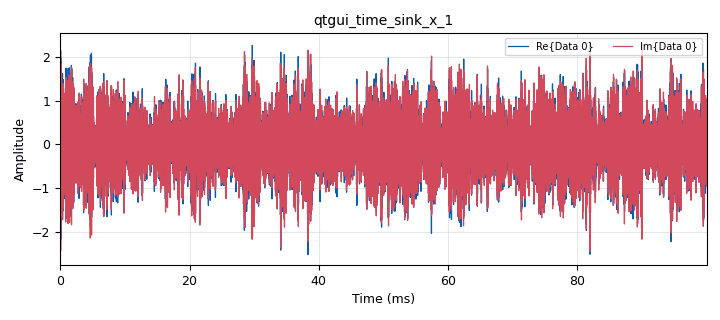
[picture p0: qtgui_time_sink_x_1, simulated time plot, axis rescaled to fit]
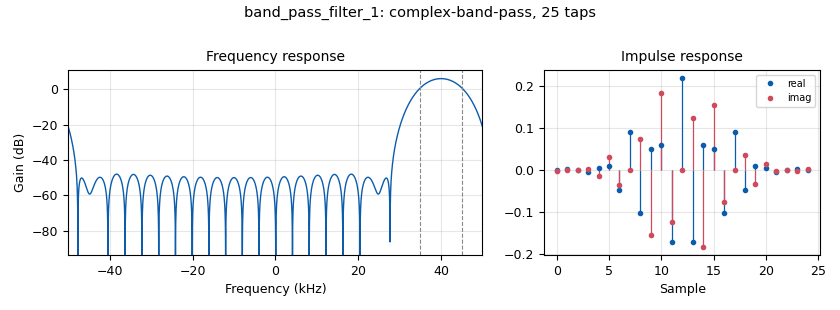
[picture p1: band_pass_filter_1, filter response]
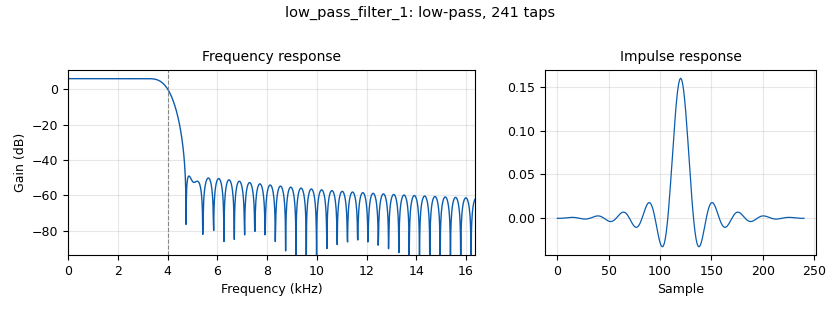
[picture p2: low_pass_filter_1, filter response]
options:
  parameters:
    author: MA & RB
    description: Showing how complax delay impacts acoustic signal
    generate_options: qt_gui
    id: OOK_TX_RX_Updated_180825
    max_nouts: '1000'
    output_language: python
    title: OOK_TX_RX_Updated_180825
  states: {}

blocks:
- name: Delay
  id: variable_qtgui_range
  parameters:
    comment: |-
      The delay is set as 443+63
      Steel = 64
      Wood=106.67, setting wood for 100 give best results
      Air=941.18 setting air for 921 gives best results
      Steel 0.8 and Wood 0.2 with total delay of 498
      Steel 0.8 and Air 0.2 with total delay of 497 (small change)
      Steel 0.8 and Air 0.1 and Wood 0.1 with total delay of 499
    label: Delay
    start: '0'
    step: '1'
    stop: '10000'
    value: '157'
  states: {}
- name: Spare
  id: variable
  parameters:
    value: '506'
  states: {}
- name: center_freq
  id: variable
  parameters:
    value: 40e3
  states: {}
- name: gain
  id: variable
  parameters:
    value: '2'
  states: {}
- name: noise_level
  id: variable_qtgui_range
  parameters:
    label: noise_level
    start: '0'
    step: '1'
    stop: '20'
    value: '1.2'
  states: {}
- name: samp_rate
  id: variable
  parameters:
    comment: changing from 2*160000 to 10000
    value: '100000'
  states: {}
- name: analog_const_source_x_1_0_0
  id: analog_const_source_x
  parameters:
    const: '1'
    type: float
  states: {}
- name: analog_const_source_x_1_1
  id: analog_const_source_x
  parameters:
    const: noise_level
    type: float
  states: {}
- name: analog_noise_source_x_0_0
  id: analog_noise_source_x
  parameters:
    amp: noise_level
    noise_type: analog.GR_GAUSSIAN
    seed: '0'
    type: float
  states: {}
- name: analog_random_source_x_0
  id: analog_random_source_x
  parameters:
    max: '2'
    min: '0'
    num_samps: '10000'
    repeat: 'False'
    type: int
  states: {}
- name: analog_sig_source_x_1
  id: analog_sig_source_x
  parameters:
    amp: '1'
    freq: center_freq
    offset: '0'
    phase: '0'
    samp_rate: samp_rate
    type: float
    waveform: analog.GR_COS_WAVE
  states: {}
- name: band_pass_filter_1
  id: band_pass_filter
  parameters:
    decim: '1'
    gain: gain
    high_cutoff_freq: '45000'
    low_cutoff_freq: '35000'
    samp_rate: samp_rate
    type: fir_filter_fcc
    width: '10000'
    win: window.WIN_HAMMING
  states: {}
- name: blocks_add_xx_0_0
  id: blocks_add_xx
  parameters:
    type: float
  states: {}
- name: blocks_char_to_float_0
  id: blocks_char_to_float
  parameters:
    scale: '1'
  states: {state: disabled}
- name: blocks_complex_to_mag_squared_0
  id: blocks_complex_to_mag_squared
  parameters: {}
  states: {}
- name: blocks_delay_0
  id: blocks_delay
  parameters:
    delay: Delay
    type: float
  states: {}
- name: blocks_divide_xx_0_0
  id: blocks_divide_xx
  parameters:
    type: float
  states: {}
- name: blocks_file_sink_0
  id: blocks_file_sink
  parameters:
    file: /home/michael/Desktop/Gnuradio_Models/ch5/BER-test-data.dat
    type: float
  states: {}
- name: blocks_float_to_int_0
  id: blocks_float_to_int
  parameters:
    scale: '1'
  states: {}
- name: blocks_float_to_int_0_0
  id: blocks_float_to_int
  parameters:
    scale: '1'
  states: {}
- name: blocks_float_to_uchar_0
  id: blocks_float_to_uchar
  parameters: {}
  states: {state: disabled}
- name: blocks_float_to_uchar_0_0
  id: blocks_float_to_uchar
  parameters: {}
  states: {state: disabled}
- name: blocks_int_to_float_0
  id: blocks_int_to_float
  parameters:
    scale: '1'
  states: {}
- name: blocks_int_to_float_1
  id: blocks_int_to_float
  parameters:
    scale: '1'
  states: {}
- name: blocks_keep_one_in_n_0_0
  id: blocks_keep_one_in_n
  parameters:
    comment: changed from 320 to 100
    n: '100'
    type: float
  states: {}
- name: blocks_keep_one_in_n_0_0_0
  id: blocks_keep_one_in_n
  parameters:
    comment: was 320 and changed to 100
    n: '100'
    type: float
  states: {}
- name: blocks_multiply_xx_1
  id: blocks_multiply_xx
  parameters:
    type: float
  states: {}
- name: blocks_nlog10_ff_0_0
  id: blocks_nlog10_ff
  parameters:
    k: '0'
    n: '20'
  states: {}
- name: blocks_repeat_0
  id: blocks_repeat
  parameters:
    comment: Was 320 and now 100
    interp: '100'
    type: int
  states: {}
- name: blocks_threshold_ff_3
  id: blocks_threshold_ff
  parameters:
    high: '0.8'
    init: '0'
    low: '0.2'
  states: {}
- name: blocks_throttle_0
  id: blocks_throttle
  parameters:
    samples_per_second: samp_rate
    type: complex
  states: {}
- name: blocks_xor_xx_1
  id: blocks_xor_xx
  parameters:
    type: int
  states: {}
- name: low_pass_filter_1
  id: low_pass_filter
  parameters:
    cutoff_freq: '4000'
    gain: gain
    interp: '1'
    samp_rate: samp_rate
    type: interp_fir_filter_fff
    width: '1000'
    win: window.WIN_HAMMING
  states: {}
- name: mp_channel_complex_0
  id: mp_channel_complex
  parameters:
    air_gain: '0'
    air_velocity: '340'
    path_length: '1'
    samp_rate: samp_rate
    steel_gain: '1'
    steel_velocity: '5000'
    wood_gain: '0'
    wood_velocity: '3000'
  states: {}
- name: qtgui_number_sink_0
  id: qtgui_number_sink
  parameters:
    graph_type: qtgui.NUM_GRAPH_NONE
    gui_hint: 1,1,1,1
    name: '"SNR in dB"'
    type: float
  states: {}
- name: qtgui_time_sink_x_1
  id: qtgui_time_sink_x
  parameters:
    size: '10000'
    srate: samp_rate
    type: complex
  states: {}
- name: qtgui_time_sink_x_1_0
  id: qtgui_time_sink_x
  parameters:
    label1: Input
    label2: Demod
    name: '"Symbols (TX and RX)"'
    nconnections: '2'
    size: '20000'
    srate: samp_rate
    type: float
    ymax: '1.1'
    ymin: '-0.1'
  states: {}
- name: qtgui_time_sink_x_1_0_0
  id: qtgui_time_sink_x
  parameters:
    comment: samp_rate/320 changed to 80
    label1: Input
    label2: Demod
    marker2: '0'
    name: '"Data Streams"'
    nconnections: '2'
    size: '100'
    srate: samp_rate/80
    style2: '0'
    type: float
    ymax: '1.1'
    ymin: '-0.1'
  states: {}
- name: qtgui_time_sink_x_2
  id: qtgui_time_sink_x
  parameters:
    label1: Errors
    marker1: '0'
    name: '"Errors"'
    size: '100'
    srate: samp_rate/320
    style1: '0'
    type: float
    ymax: '1.1'
    ymin: '-0.1'
  states: {}
- name: virtual_sink_0
  id: virtual_sink
  parameters:
    stream_id: TX stream
  states: {}
- name: virtual_sink_1
  id: virtual_sink
  parameters:
    stream_id: TX signal
  states: {}
- name: virtual_sink_1_0
  id: virtual_sink
  parameters:
    stream_id: MP Signal
  states: {}
- name: virtual_sink_2
  id: virtual_sink
  parameters:
    stream_id: RX Symbols
  states: {}
- name: virtual_sink_3
  id: virtual_sink
  parameters:
    stream_id: TX Symbols
  states: {}
- name: virtual_sink_3_0
  id: virtual_sink
  parameters:
    stream_id: TX Signals
  states: {}
- name: virtual_sink_4
  id: virtual_sink
  parameters:
    stream_id: RX Signals
  states: {}
- name: virtual_sink_5
  id: virtual_sink
  parameters:
    stream_id: TX d-Syms
  states: {}
- name: virtual_source_0
  id: virtual_source
  parameters:
    stream_id: TX d-Syms
  states: {}
- name: virtual_source_1
  id: virtual_source
  parameters:
    stream_id: TX stream
  states: {}
- name: virtual_source_2
  id: virtual_source
  parameters:
    stream_id: MP Signal
  states: {}
- name: virtual_source_2_0
  id: virtual_source
  parameters:
    stream_id: TX signal
  states: {}
- name: virtual_source_2_0_0
  id: virtual_source
  parameters:
    stream_id: TX signal
  states: {}
- name: virtual_source_3
  id: virtual_source
  parameters:
    stream_id: TX Symbols
  states: {}
- name: virtual_source_3_0
  id: virtual_source
  parameters:
    stream_id: TX Symbols
  states: {}
- name: virtual_source_4
  id: virtual_source
  parameters:
    stream_id: RX Symbols
  states: {}
- name: virtual_source_4_0
  id: virtual_source
  parameters:
    stream_id: RX Symbols
  states: {}
- name: virtual_source_5
  id: virtual_source
  parameters:
    stream_id: TX Signals
  states: {}
- name: virtual_source_6
  id: virtual_source
  parameters:
    stream_id: RX Signals
  states: {}

connections:
- [analog_const_source_x_1_0_0, '0', blocks_divide_xx_0_0, '0']
- [analog_const_source_x_1_1, '0', blocks_divide_xx_0_0, '1']
- [analog_noise_source_x_0_0, '0', blocks_add_xx_0_0, '1']
- [analog_random_source_x_0, '0', blocks_repeat_0, '0']
- [analog_sig_source_x_1, '0', blocks_multiply_xx_1, '1']
- [band_pass_filter_1, '0', virtual_sink_1, '0']
- [blocks_add_xx_0_0, '0', band_pass_filter_1, '0']
- [blocks_char_to_float_0, '0', qtgui_time_sink_x_2, '0']
- [blocks_complex_to_mag_squared_0, '0', low_pass_filter_1, '0']
- [blocks_delay_0, '0', blocks_keep_one_in_n_0_0, '0']
- [blocks_delay_0, '0', virtual_sink_3_0, '0']
- [blocks_divide_xx_0_0, '0', blocks_nlog10_ff_0_0, '0']
- [blocks_float_to_int_0, '0', blocks_xor_xx_1, '0']
- [blocks_float_to_int_0_0, '0', blocks_xor_xx_1, '1']
- [blocks_float_to_uchar_0, '0', blocks_xor_xx_1, '1']
- [blocks_float_to_uchar_0_0, '0', blocks_xor_xx_1, '0']
- [blocks_int_to_float_0, '0', blocks_multiply_xx_1, '0']
- [blocks_int_to_float_0, '0', virtual_sink_0, '0']
- [blocks_int_to_float_1, '0', blocks_file_sink_0, '0']
- [blocks_int_to_float_1, '0', qtgui_time_sink_x_2, '0']
- [blocks_keep_one_in_n_0_0, '0', virtual_sink_3, '0']
- [blocks_keep_one_in_n_0_0_0, '0', virtual_sink_2, '0']
- [blocks_multiply_xx_1, '0', blocks_add_xx_0_0, '0']
- [blocks_nlog10_ff_0_0, '0', qtgui_number_sink_0, '0']
- [blocks_repeat_0, '0', virtual_sink_5, '0']
- [blocks_threshold_ff_3, '0', blocks_keep_one_in_n_0_0_0, '0']
- [blocks_threshold_ff_3, '0', virtual_sink_4, '0']
- [blocks_throttle_0, '0', qtgui_time_sink_x_1, '0']
- [blocks_xor_xx_1, '0', blocks_char_to_float_0, '0']
- [blocks_xor_xx_1, '0', blocks_int_to_float_1, '0']
- [low_pass_filter_1, '0', blocks_threshold_ff_3, '0']
- [mp_channel_complex_0, '0', virtual_sink_1_0, '0']
- [virtual_source_0, '0', blocks_int_to_float_0, '0']
- [virtual_source_1, '0', blocks_delay_0, '0']
- [virtual_source_2, '0', blocks_complex_to_mag_squared_0, '0']
- [virtual_source_2_0, '0', blocks_throttle_0, '0']
- [virtual_source_2_0_0, '0', mp_channel_complex_0, '0']
- [virtual_source_3, '0', qtgui_time_sink_x_1_0_0, '0']
- [virtual_source_3_0, '0', blocks_float_to_int_0, '0']
- [virtual_source_3_0, '0', blocks_float_to_uchar_0_0, '0']
- [virtual_source_4, '0', qtgui_time_sink_x_1_0_0, '1']
- [virtual_source_4_0, '0', blocks_float_to_int_0_0, '0']
- [virtual_source_4_0, '0', blocks_float_to_uchar_0, '0']
- [virtual_source_5, '0', qtgui_time_sink_x_1_0, '0']
- [virtual_source_6, '0', qtgui_time_sink_x_1_0, '1']

metadata:
  file_format: 1
  grc_version: 3.10.9.2
